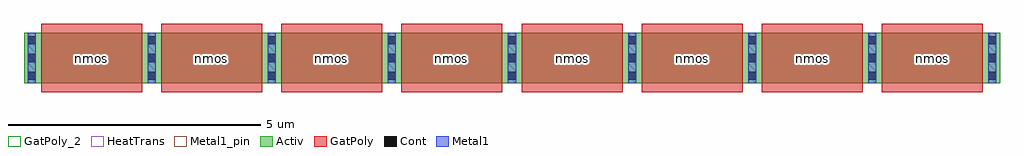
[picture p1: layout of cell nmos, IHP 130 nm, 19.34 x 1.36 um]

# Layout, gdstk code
import gdstk
lib = gdstk.Library(unit=1e-6, precision=1e-09)
def R(c, l, rs):  # rectangles x0, y0, x1, y1
    for r in rs: c.add(gdstk.rectangle(r[:2], r[2:], *l))
def A(c, l, x, y, w, h, nx, ny, dx, dy):  # array of equal rectangles
    R(c, l, [(x+i*dx, y+j*dy, x+i*dx+w, y+j*dy+h) for i in range(nx) for j in range(ny)])
Activ = (1, 0)
GatPoly = (5, 0)
GatPoly_2 = (5, 2)
Cont = (6, 0)
Metal1 = (8, 0)
Metal1_pin = (8, 2)
HeatTrans = (51, 0)

nmos = lib.new_cell('nmos')
A(nmos, Activ, 0, 0, 0.3, 0.3, 9, 1, 2.38, 0)
R(nmos, Activ, [(0,0,19.34,1)])
A(nmos, GatPoly, 0.34, -0.18, 2, 1.36, 8, 1, 2.38, 0)
R(nmos, GatPoly_2, [(0.34,-0.18,2.34,1.18)])
A(nmos, Cont, 0.07, 0.07, 0.16, 0.16, 9, 3, 2.38, 0.35)
A(nmos, Metal1, 0.07, 0, 0.16, 1, 9, 1, 2.38, 0)
R(nmos, Metal1_pin, [(0.07,0,0.23,1), (2.45,0,2.61,1)])
A(nmos, HeatTrans, 0.34, -0.18, 2, 1.36, 8, 1, 2.38, 0)
nmos.add(gdstk.Label('nmos', (1.34,0.5), layer=63, texttype=0))
nmos.add(gdstk.Label('nmos', (1.34,0.5), layer=51, texttype=0))
nmos.add(gdstk.Label('nmos', (3.72,0.5), layer=51, texttype=0))
nmos.add(gdstk.Label('nmos', (6.1,0.5), layer=51, texttype=0))
nmos.add(gdstk.Label('nmos', (8.48,0.5), layer=51, texttype=0))
nmos.add(gdstk.Label('nmos', (10.86,0.5), layer=51, texttype=0))
nmos.add(gdstk.Label('nmos', (13.24,0.5), layer=51, texttype=0))
nmos.add(gdstk.Label('nmos', (15.62,0.5), layer=51, texttype=0))
nmos.add(gdstk.Label('nmos', (18,0.5), layer=51, texttype=0))

lib.write_gds('nmos.gds')
